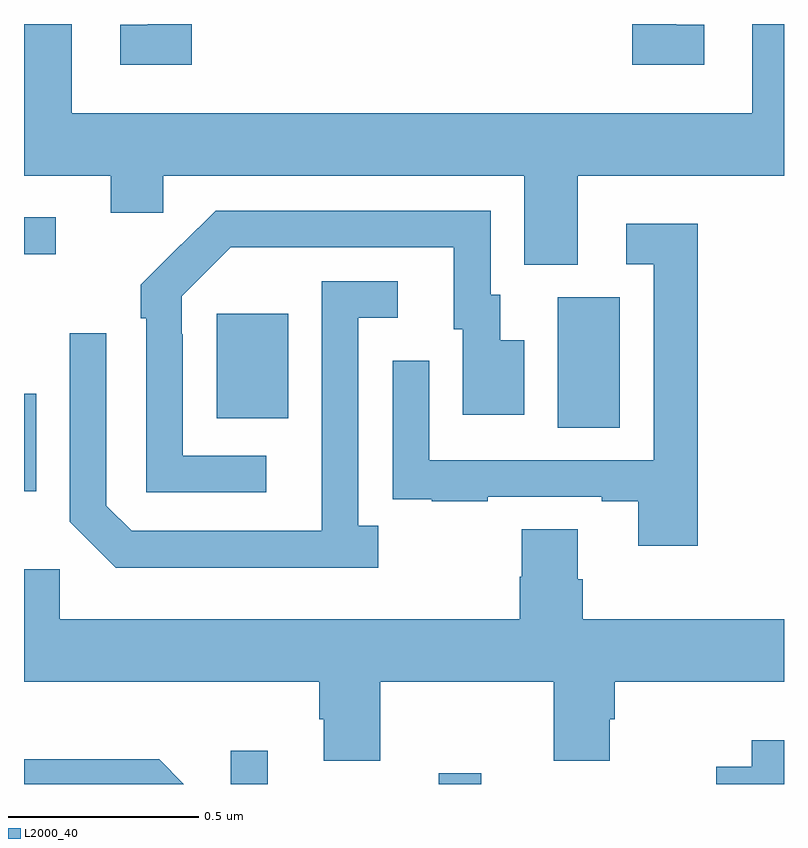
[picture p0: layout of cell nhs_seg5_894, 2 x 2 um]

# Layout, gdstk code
import gdstk
lib = gdstk.Library(unit=1e-6, precision=1e-09)
def R(c, l, rs):  # rectangles x0, y0, x1, y1
    for r in rs: c.add(gdstk.rectangle(r[:2], r[2:], *l))
def P(c, l, *ps):  # polygons
    for p in ps: c.add(gdstk.Polygon(p, *l))
L2000_40 = (2000, 40)

nhs_seg5_894 = lib.new_cell('nhs_seg5_894')
R(nhs_seg5_894, L2000_40, [(122.544,881.799,122.641,881.887), (123.092,881.799,123.203,881.827), (122,882.569,122.032,882.826), (123.404,882.736,123.568,883.08), (122.507,882.761,122.695,883.036), (122,883.193,122.083,883.29)])
P(nhs_seg5_894, L2000_40, [(123.79,883.797),(123.717,883.797),(123.717,883.799),(123.601,883.799),(123.601,883.692),(123.79,883.692)],
  [(123.457,883.4),(124,883.4),(124,883.799),(123.917,883.799),(123.917,883.564),(122.125,883.564),(122.125,883.799),(122,883.799),(122,883.4),(122.228,883.4),(122.228,883.302),(122.367,883.302),(122.367,883.4),(123.317,883.4),(123.317,883.165),(123.457,883.165)],
  [(122.441,883.799),(122.325,883.799),(122.325,883.797),(122.253,883.797),(122.253,883.692),(122.441,883.692)],
  [(122.638,882.663),(122.418,882.663),(122.418,882.983),(122.415,882.983),(122.415,883.083),(122.544,883.212),(123.131,883.212),(123.131,882.996),(123.155,882.996),(123.155,882.771),(123.316,882.771),(123.316,882.967),(123.253,882.967),(123.253,883.086),(123.228,883.086),(123.228,883.308),(122.504,883.308),(122.413,883.217),(122.412,883.218),(122.307,883.113),(122.307,883.025),(122.322,883.025),(122.322,882.567),(122.638,882.567)],
  [(123.773,883.273),(123.585,883.273),(123.585,883.167),(123.657,883.167),(123.657,882.651),(123.066,882.651),(123.066,882.913),(122.97,882.913),(122.97,882.658),(122.971,882.658),(122.971,882.549),(123.073,882.549),(123.073,882.543),(123.221,882.543),(123.221,882.555),(123.521,882.555),(123.521,882.543),(123.617,882.543),(123.617,882.426),(123.773,882.426)],
  [(122.932,882.478),(122.88,882.478),(122.88,883.026),(122.983,883.026),(122.983,883.122),(122.784,883.122),(122.784,882.665),(122.783,882.665),(122.783,882.465),(122.283,882.465),(122.217,882.531),(122.217,882.985),(122.121,882.985),(122.121,882.489),(122.242,882.368),(122.932,882.368)],
  [(122.937,882.068),(123.394,882.068),(123.394,881.86),(123.541,881.86),(123.541,881.97),(123.554,881.97),(123.554,882.068),(124,882.068),(124,882.232),(123.47,882.232),(123.47,882.338),(123.457,882.338),(123.457,882.47),(123.31,882.47),(123.31,882.345),(123.305,882.345),(123.305,882.232),(122.094,882.232),(122.094,882.364),(122,882.364),(122,882.068),(122.777,882.068),(122.777,881.97),(122.789,881.97),(122.789,881.86),(122.937,881.86)],
  [(124,881.914),(123.915,881.914),(123.915,881.844),(123.822,881.844),(123.822,881.799),(124,881.799)],
  [(122.356,881.864),(122,881.864),(122,881.799),(122.421,881.799)])

lib.write_gds('nhs_seg5_894.gds')
